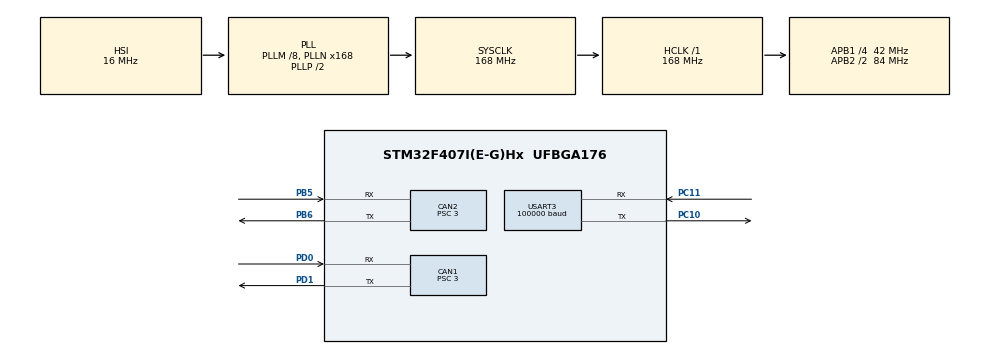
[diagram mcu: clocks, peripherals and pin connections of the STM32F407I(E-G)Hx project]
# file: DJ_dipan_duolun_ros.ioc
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CAN1.BS1=CAN_BS1_7TQ
CAN1.BS2=CAN_BS2_6TQ
CAN1.CalculateBaudRate=1000000
CAN1.CalculateTimeBit=1000
CAN1.CalculateTimeQuantum=71.42857142857143
CAN1.Prescaler=3
CAN2.BS1=CAN_BS1_7TQ
CAN2.BS2=CAN_BS2_6TQ
CAN2.CalculateBaudRate=1000000
CAN2.CalculateTimeBit=1000
CAN2.CalculateTimeQuantum=71.42857142857143
CAN2.Prescaler=3
Dma.Request0=USART3_RX
Dma.USART3_RX.0.Direction=DMA_PERIPH_TO_MEMORY
Dma.USART3_RX.0.FIFOMode=DMA_FIFOMODE_DISABLE
Dma.USART3_RX.0.Instance=DMA1_Stream1
Dma.USART3_RX.0.MemDataAlignment=DMA_MDATAALIGN_BYTE
Dma.USART3_RX.0.MemInc=DMA_MINC_ENABLE
Dma.USART3_RX.0.Mode=DMA_CIRCULAR
Dma.USART3_RX.0.PeriphDataAlignment=DMA_PDATAALIGN_BYTE
Dma.USART3_RX.0.PeriphInc=DMA_PINC_DISABLE
Dma.USART3_RX.0.Priority=DMA_PRIORITY_HIGH
FREERTOS.Tasks01=motor,30,128,motor_f,Default,NULL,Dynamic,NULL,NULL;dipan,31,128,dipan_f,Default,NULL,Dynamic,NULL,NULL
Mcu.Family=STM32F4
Mcu.Name=STM32F407I(E-G)Hx
Mcu.Package=UFBGA176
NVIC.CAN1_RX0_IRQn=true\:5\:0\:true\:false\:true\:true\:true\:true\:true
NVIC.CAN1_RX1_IRQn=true\:5\:0\:false\:false\:true\:true\:true\:true\:true
NVIC.CAN2_RX0_IRQn=true\:5\:0\:true\:false\:true\:true\:true\:true\:true
NVIC.CAN2_RX1_IRQn=true\:5\:0\:false\:false\:true\:true\:true\:true\:true
NVIC.DMA1_Stream1_IRQn=true\:5\:0\:false\:false\:true\:true\:false\:true\:true
NVIC.PriorityGroup=NVIC_PRIORITYGROUP_4
NVIC.TIM8_TRG_COM_TIM14_IRQn=true\:15\:0\:false\:false\:true\:false\:false\:true\:true
NVIC.TimeBase=TIM8_TRG_COM_TIM14_IRQn
NVIC.TimeBaseIP=TIM14
PA13.Mode=Serial_Wire
PA13.Signal=SYS_JTMS-SWDIO
PA14.Mode=Serial_Wire
PA14.Signal=SYS_JTCK-SWCLK
PB5.Mode=CAN_Activate
PB5.Signal=CAN2_RX
PB6.Mode=CAN_Activate
PB6.Signal=CAN2_TX
PC10.Mode=Asynchronous
PC10.Signal=USART3_TX
PC11.Mode=Asynchronous
PC11.Signal=USART3_RX
PD0.Mode=CAN_Activate
PD0.Signal=CAN1_RX
PD1.Mode=CAN_Activate
PD1.Signal=CAN1_TX
PH0-OSC_IN.Mode=HSE-External-Oscillator
PH0-OSC_IN.Signal=RCC_OSC_IN
PH1-OSC_OUT.Mode=HSE-External-Oscillator
PH1-OSC_OUT.Signal=RCC_OSC_OUT
ProjectManager.HeapSize=0x200
ProjectManager.StackSize=0x400
ProjectManager.TargetToolchain=MDK-ARM V5.32
RCC.48MHZClocksFreq_Value=84000000
RCC.AHBFreq_Value=168000000
RCC.APB1CLKDivider=RCC_HCLK_DIV4
RCC.APB1Freq_Value=42000000
RCC.APB1TimFreq_Value=84000000
RCC.APB2CLKDivider=RCC_HCLK_DIV2
RCC.APB2Freq_Value=84000000
RCC.APB2TimFreq_Value=168000000
RCC.CortexFreq_Value=168000000
RCC.HCLKFreq_Value=168000000
RCC.HSE_VALUE=25000000
RCC.HSI_VALUE=16000000
RCC.LSE_VALUE=32768
RCC.PLLM=8
RCC.PLLN=168
RCC.SYSCLKFreq_VALUE=168000000
RCC.SYSCLKSource=RCC_SYSCLKSOURCE_PLLCLK
RCC.VCOOutputFreq_Value=336000000
USART3.BaudRate=100000
USART3.Mode=MODE_RX
USART3.Parity=PARITY_EVEN
USART3.VirtualMode=VM_ASYNC
VP_FREERTOS_VS_CMSIS_V2.Mode=CMSIS_V2
VP_SYS_VS_tim14.Mode=TIM14
board=custom

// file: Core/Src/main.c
/* USER CODE BEGIN Header */
/**
  ******************************************************************************
  * @file           : main.c
  * @brief          : Main program body
  ******************************************************************************
  * @attention
  *
  * Copyright (c) 2024 STMicroelectronics.
  * All rights reserved.
  *
  * This software is licensed under terms that can be found in the LICENSE file
  * in the root directory of this software component.
  * If no LICENSE file comes with this software, it is provided AS-IS.
  *
  ******************************************************************************
  */
/* USER CODE END Header */
#include "main.h"
#include "cmsis_os.h"
#include "can.h"
#include "dma.h"
#include "usart.h"
#include "gpio.h"

/* USER CODE BEGIN Includes */
#include "DJ_d16.h"
#include "DJ_Motor.h"
/* USER CODE END Includes */

void SystemClock_Config(void);
void MX_FREERTOS_Init(void);

int main(void)
{

  /* MCU Configuration--------------------------------------------------------*/

  /* Reset of all peripherals, Initializes the Flash interface and the Systick. */
  HAL_Init();

  /* Configure the system clock */
  SystemClock_Config();

  /* Initialize all configured peripherals */
  MX_GPIO_Init();
  MX_DMA_Init();
  MX_CAN1_Init();
  MX_USART3_UART_Init();
  MX_CAN2_Init();
  /* USER CODE BEGIN 2 */
	DJ16_Init(&huart3);
//	DJ_Motor_Init(&hcan1);
	DJ_Motor_Init(&hcan2);

  /* USER CODE END 2 */

  /* Init scheduler */
  osKernelInitialize();  /* Call init function for freertos objects (in freertos.c) */
  MX_FREERTOS_Init();

  /* Start scheduler */
  osKernelStart();

  /* We should never get here as control is now taken by the scheduler */
  /* Infinite loop */
  while (1)
  {

  }
}

void SystemClock_Config(void)
{
  RCC_OscInitTypeDef RCC_OscInitStruct = {0};
  RCC_ClkInitTypeDef RCC_ClkInitStruct = {0};

  /** Configure the main internal regulator output voltage
  */
  __HAL_RCC_PWR_CLK_ENABLE();
  __HAL_PWR_VOLTAGESCALING_CONFIG(PWR_REGULATOR_VOLTAGE_SCALE1);

  /** Initializes the RCC Oscillators according to the specified parameters
  * in the RCC_OscInitTypeDef structure.
  */
  RCC_OscInitStruct.OscillatorType = RCC_OSCILLATORTYPE_HSI;
  RCC_OscInitStruct.HSIState = RCC_HSI_ON;
  RCC_OscInitStruct.HSICalibrationValue = RCC_HSICALIBRATION_DEFAULT;
  RCC_OscInitStruct.PLL.PLLState = RCC_PLL_ON;
  RCC_OscInitStruct.PLL.PLLSource = RCC_PLLSOURCE_HSI;
  RCC_OscInitStruct.PLL.PLLM = 8;
  RCC_OscInitStruct.PLL.PLLN = 168;
  RCC_OscInitStruct.PLL.PLLP = RCC_PLLP_DIV2;
  RCC_OscInitStruct.PLL.PLLQ = 4;
  if (HAL_RCC_OscConfig(&RCC_OscInitStruct) != HAL_OK)
  {
    Error_Handler();
  }

  /** Initializes the CPU, AHB and APB buses clocks
  */
  RCC_ClkInitStruct.ClockType = RCC_CLOCKTYPE_HCLK|RCC_CLOCKTYPE_SYSCLK
                              |RCC_CLOCKTYPE_PCLK1|RCC_CLOCKTYPE_PCLK2;
  RCC_ClkInitStruct.SYSCLKSource = RCC_SYSCLKSOURCE_PLLCLK;
  RCC_ClkInitStruct.AHBCLKDivider = RCC_SYSCLK_DIV1;
  RCC_ClkInitStruct.APB1CLKDivider = RCC_HCLK_DIV4;
  RCC_ClkInitStruct.APB2CLKDivider = RCC_HCLK_DIV2;

  if (HAL_RCC_ClockConfig(&RCC_ClkInitStruct, FLASH_LATENCY_5) != HAL_OK)
  {
    Error_Handler();
  }
}

void HAL_TIM_PeriodElapsedCallback(TIM_HandleTypeDef *htim)
{
  if (htim->Instance == TIM14) {
    HAL_IncTick();
  }
}

void Error_Handler(void)
{
  __disable_irq();
  while (1)
  {
  }
}

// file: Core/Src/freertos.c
/* USER CODE BEGIN Header */
/**
  ******************************************************************************
  * File Name          : freertos.c
  * Description        : Code for freertos applications
  ******************************************************************************
  * @attention
  *
  * Copyright (c) 2024 STMicroelectronics.
  * All rights reserved.
  *
  * This software is licensed under terms that can be found in the LICENSE file
  * in the root directory of this software component.
  * If no LICENSE file comes with this software, it is provided AS-IS.
  *
  ******************************************************************************
  */
/* USER CODE END Header */

#include "FreeRTOS.h"
#include "task.h"
#include "main.h"
#include "cmsis_os.h"

/* USER CODE BEGIN Includes */
#include "DJ_d16.h"
#include "DJ_Motor.h"
#include "duolun.h"
/* USER CODE END Includes */

/* USER CODE BEGIN Variables */
float x,y,w;

/* USER CODE END Variables */
/* Definitions for motor */
osThreadId_t motorHandle;
const osThreadAttr_t motor_attributes = {
  .name = "motor",
  .stack_size = 128 * 4,
  .priority = (osPriority_t) osPriorityNormal6,
};
/* Definitions for dipan */
osThreadId_t dipanHandle;
const osThreadAttr_t dipan_attributes = {
  .name = "dipan",
  .stack_size = 128 * 4,
  .priority = (osPriority_t) osPriorityNormal7,
};

void motor_f(void *argument);
void dipan_f(void *argument);

void MX_FREERTOS_Init(void); /* (MISRA C 2004 rule 8.1) */

void MX_FREERTOS_Init(void) {

  /* Create the thread(s) */
  /* creation of motor */
  motorHandle = osThreadNew(motor_f, NULL, &motor_attributes);

  /* creation of dipan */
  dipanHandle = osThreadNew(dipan_f, NULL, &dipan_attributes);

}

void motor_f(void *argument)
{
  /* USER CODE BEGIN motor_f */
  /* Infinite loop */
  for(;;)
  {
		Steer_Calculate_speed(&chassis_duolun,x,y,w);
    osDelay(5);
  }
  /* USER CODE END motor_f */
}

void dipan_f(void *argument)
{
  /* USER CODE BEGIN dipan_f */
  /* Infinite loop */
  for(;;)
  {
		y = ((float)yaokong.ch2-1024)/660*2000;
		x = ((float)yaokong.ch3-1024)/660*2000;
	if(yaokong.s1 == 1) w = 800;
	else if(yaokong.s1 == 2) w = -800;
	else w = 0;
	if(yaokong.ch2<364) x = 0;
	if(yaokong.ch2>1684) x = 0;
	if(yaokong.ch0<364) y = 0;
	if(yaokong.ch0>1684)y = 0;
		Steer_Calculate_turn(&chassis_duolun,x,y,w);
    osDelay(5);
  }
  /* USER CODE END dipan_f */
}
